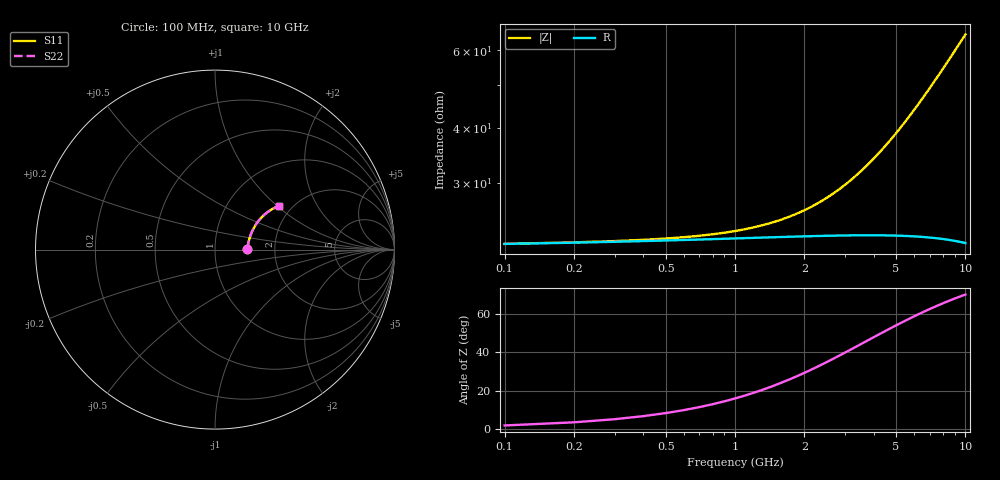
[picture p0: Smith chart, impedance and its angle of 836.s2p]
# Hz S RI R 50.00
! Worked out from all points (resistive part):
!   100 points, 100 MHz to 10 GHz, reference 50 ohm
!   read as one part in series: R = 21.8 ohm at 100 MHz
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1e8  0.1788 0.00343  0.8212 -0.00509  0.8212 -0.00509  0.1788 0.00343
2e8  0.1798 0.00683  0.8202 -0.0102  0.8202 -0.0102  0.1798 0.00683
7e8  0.1833 0.0237  0.8166 -0.0354  0.8166 -0.0354  0.1833 0.0237
1e9  0.1853 0.0337  0.8146 -0.0504  0.8146 -0.0504  0.1853 0.0337
1.4e9  0.1882 0.0469  0.8115 -0.0703  0.8115 -0.0703  0.1882 0.0469
1.8e9  0.1916 0.0599  0.8078 -0.0899  0.8078 -0.0899  0.1916 0.0599
2.1e9  0.1945 0.0696  0.8048 -0.1046  0.8048 -0.1046  0.1945 0.0696
2.5e9  0.1989 0.0822  0.8002 -0.1239  0.8002 -0.1239  0.1989 0.0822
2.9e9  0.2037 0.0945  0.795 -0.1429  0.795 -0.1429  0.2037 0.0945
3.4e9  0.2106 0.1095  0.7877 -0.1663  0.7877 -0.1663  0.2106 0.1095
4.2e9  0.2232 0.1324  0.7741 -0.2026  0.7741 -0.2026  0.2232 0.1324
4.6e9  0.2302 0.1433  0.7666 -0.2202  0.7666 -0.2202  0.2302 0.1433
5.1e9  0.2396 0.1563  0.7564 -0.2416  0.7564 -0.2416  0.2396 0.1563
5.9e9  0.256 0.1757  0.7386 -0.2744  0.7386 -0.2744  0.256 0.1757
6.3e9  0.2648 0.1847  0.7291 -0.2902  0.7291 -0.2902  0.2648 0.1847
6.7e9  0.2739 0.1932  0.7192 -0.3054  0.7192 -0.3054  0.2739 0.1932
7.1e9  0.2833 0.2012  0.709 -0.3202  0.709 -0.3202  0.2833 0.2012
7.5e9  0.2929 0.2087  0.6984 -0.3344  0.6984 -0.3344  0.2929 0.2087
7.9e9  0.3029 0.2157  0.6875 -0.3482  0.6875 -0.3482  0.3029 0.2157
8.4e9  0.3156 0.2237  0.6735 -0.3647  0.6735 -0.3647  0.3156 0.2237
9.2e9  0.3364 0.2349  0.6505 -0.3895  0.6505 -0.3895  0.3364 0.2349
1e10  0.3577 0.2439  0.6267 -0.4123  0.6267 -0.4123  0.3577 0.2439
